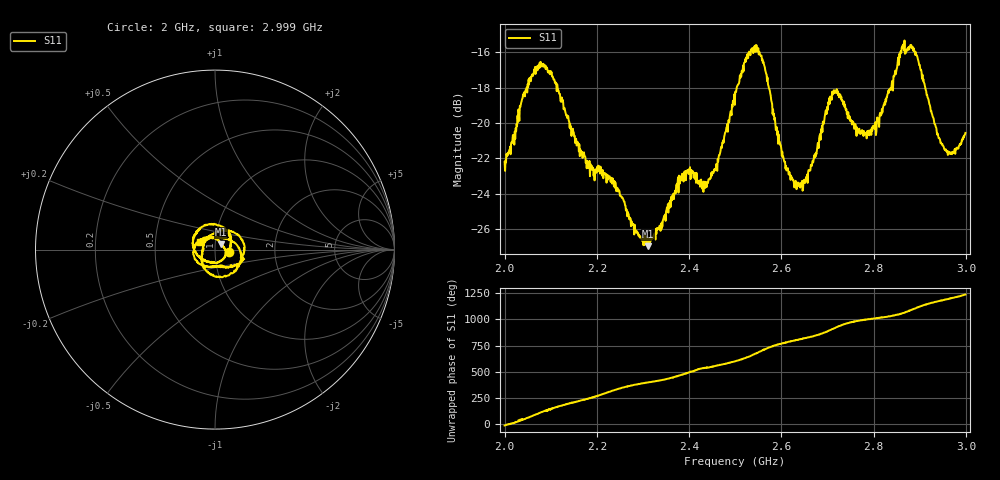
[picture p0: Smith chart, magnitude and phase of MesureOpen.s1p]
# MHz S MA R 50.0
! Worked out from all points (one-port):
!   1000 points, 2 GHz to 2.999 GHz, reference 50 ohm
!   lowest |S11| = -27.0 dB at 2.311 GHz (marker M1), VSWR 1.09, Z = 53.5 + j3.06 ohm
!   |S11| at or under -10 dB: start of sweep to end of sweep
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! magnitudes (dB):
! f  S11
! 2 GHz  -22.2
! 2.038 GHz  -18.6
! 2.069 GHz  -17.1
! 2.097 GHz  -17.1
! 2.125 GHz  -18.8
! 2.18 GHz  -22.3
! 2.25 GHz  -24.1
! 2.286 GHz  -26.2
! 2.311 GHz  -27.0
! 2.375 GHz  -23.4
! 2.397 GHz  -22.7
! 2.442 GHz  -23.2
! 2.461 GHz  -22.7
! 2.5 GHz  -18.2
! 2.526 GHz  -16.1
! 2.549 GHz  -15.9
! 2.565 GHz  -17.0
! 2.606 GHz  -22.2
! 2.625 GHz  -23.2
! 2.652 GHz  -23.3
! 2.715 GHz  -18.2
! 2.75 GHz  -19.8
! 2.801 GHz  -20.3
! 2.862 GHz  -15.8
! 2.875 GHz  -15.9
! 2.892 GHz  -16.2
! 2.956 GHz  -21.6
! 2.999 GHz  -20.6
